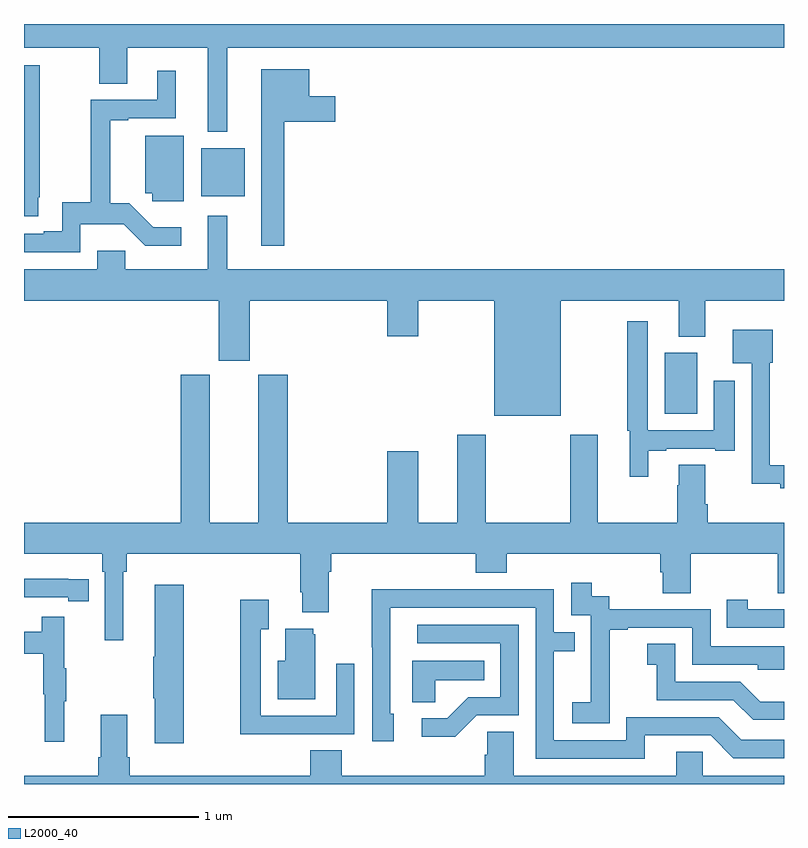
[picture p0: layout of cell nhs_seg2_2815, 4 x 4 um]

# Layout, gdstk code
import gdstk
lib = gdstk.Library(unit=1e-6, precision=1e-09)
def R(c, l, rs):  # rectangles x0, y0, x1, y1
    for r in rs: c.add(gdstk.rectangle(r[:2], r[2:], *l))
def P(c, l, *ps):  # polygons
    for p in ps: c.add(gdstk.Polygon(p, *l))
L2000_40 = (2000, 40)

nhs_seg2_2815 = lib.new_cell('nhs_seg2_2815')
R(nhs_seg2_2815, L2000_40, [(262.373,605.75,262.543,606.07), (259.934,606.893,260.161,607.147)])
P(nhs_seg2_2815, L2000_40, [(260.071,607.676),(263,607.676),(263,607.8),(259,607.8),(259,607.676),(259.396,607.676),(259.396,607.486),(259.543,607.486),(259.543,607.676),(259.967,607.676),(259.967,607.232),(260.071,607.232)],
  [(259.076,606.889),(259.082,606.889),(259.082,607.584),(259,607.584),(259,606.787),(259.076,606.787)],
  [(260.371,607.286),(260.638,607.286),(260.638,607.42),(260.5,607.42),(260.5,607.561),(260.249,607.561),(260.249,606.633),(260.371,606.633)],
  [(259.296,606.746),(259.525,606.746),(259.638,606.633),(259.828,606.633),(259.828,606.73),(259.679,606.73),(259.553,606.856),(259.454,606.856),(259.454,607.293),(259.549,607.293),(259.549,607.305),(259.798,607.305),(259.798,607.555),(259.7,607.555),(259.7,607.401),(259.351,607.401),(259.351,606.863),(259.2,606.863),(259.2,606.71),(259.103,606.71),(259.103,606.696),(259,606.696),(259,606.6),(259.296,606.6)],
  [(259.84,607.213),(259.637,607.213),(259.637,606.908),(259.674,606.908),(259.674,606.866),(259.84,606.866)],
  [(261.826,606.344),(262.445,606.344),(262.445,606.155),(262.585,606.155),(262.585,606.344),(263,606.344),(263,606.508),(260.071,606.508),(260.071,606.79),(259.967,606.79),(259.967,606.508),(259.532,606.508),(259.532,606.606),(259.385,606.606),(259.385,606.508),(259,606.508),(259,606.344),(260.024,606.344),(260.024,606.027),(260.188,606.027),(260.188,606.344),(260.912,606.344),(260.912,606.156),(261.076,606.156),(261.076,606.344),(261.476,606.344),(261.476,605.738),(261.826,605.738)],
  [(262.285,605.553),(262.381,605.553),(262.381,605.565),(262.637,605.565),(262.637,605.553),(262.741,605.553),(262.741,605.923),(262.631,605.923),(262.631,605.661),(262.284,605.661),(262.284,606.235),(262.176,606.235),(262.176,605.658),(262.187,605.658),(262.187,605.418),(262.285,605.418)],
  [(263,605.478),(262.926,605.478),(262.926,606.018),(262.942,606.018),(262.942,606.19),(262.73,606.19),(262.73,606.014),(262.83,606.014),(262.83,605.381),(262.98,605.381),(262.98,605.357),(263,605.357)],
  [(260.387,605.955),(260.234,605.955),(260.234,605.176),(259.978,605.176),(259.978,605.955),(259.826,605.955),(259.826,605.176),(259,605.176),(259,605.012),(259.412,605.012),(259.412,604.916),(259.425,604.916),(259.425,604.557),(259.522,604.557),(259.522,604.916),(259.541,604.916),(259.541,605.012),(260.453,605.012),(260.453,604.81),(260.465,604.81),(260.465,604.703),(260.605,604.703),(260.605,604.916),(260.618,604.916),(260.618,605.012),(261.377,605.012),(261.377,604.913),(261.541,604.913),(261.541,605.012),(262.349,605.012),(262.349,604.914),(262.361,604.914),(262.361,604.804),(262.509,604.804),(262.509,605.012),(262.966,605.012),(262.966,604.804),(263,604.804),(263,605.176),(262.598,605.176),(262.598,605.272),(262.585,605.272),(262.585,605.48),(262.445,605.48),(262.445,605.372),(262.438,605.372),(262.438,605.176),(262.021,605.176),(262.021,605.638),(261.874,605.638),(261.874,605.176),(261.429,605.176),(261.429,605.638),(261.281,605.638),(261.281,605.176),(261.076,605.176),(261.076,605.551),(260.912,605.551),(260.912,605.176),(260.387,605.176)],
  [(259.34,604.878),(259.232,604.878),(259.232,604.879),(259,604.879),(259,604.782),(259.232,604.782),(259.232,604.762),(259.34,604.762)],
  [(262.083,604.327),(262.082,604.327),(262.082,604.611),(262.177,604.611),(262.177,604.623),(262.518,604.623),(262.518,604.428),(262.863,604.428),(262.863,604.401),(263,604.401),(263,604.524),(262.614,604.524),(262.614,604.719),(262.08,604.719),(262.08,604.788),(261.988,604.788),(261.988,604.858),(261.879,604.858),(261.879,604.689),(261.984,604.689),(261.984,604.46),(261.983,604.46),(261.983,604.231),(261.885,604.231),(261.885,604.121),(262.083,604.121)],
  [(259.842,604.849),(259.688,604.849),(259.688,604.469),(259.681,604.469),(259.681,604.252),(259.688,604.252),(259.688,604.014),(259.842,604.014)],
  [(262.267,604.056),(262.614,604.056),(262.734,603.936),(263,603.936),(263,604.032),(262.776,604.032),(262.656,604.152),(262.17,604.152),(262.17,604.029),(261.789,604.029),(261.789,604.498),(261.899,604.498),(261.899,604.599),(261.789,604.599),(261.789,604.824),(261.293,604.824),(261.293,604.826),(260.83,604.826),(260.83,604.519),(260.832,604.519),(260.832,604.026),(260.947,604.026),(260.947,604.17),(260.928,604.17),(260.928,604.728),(261.693,604.728),(261.693,603.933),(262.267,603.933)],
  [(263,604.719),(262.81,604.719),(262.81,604.771),(262.699,604.771),(262.699,604.623),(263,604.623)],
  [(260.423,604.062),(260.739,604.062),(260.739,604.432),(260.643,604.432),(260.643,604.158),(260.247,604.158),(260.247,604.615),(260.287,604.615),(260.287,604.771),(260.139,604.771),(260.139,604.061),(260.423,604.061)],
  [(259.211,604.235),(259.222,604.235),(259.222,604.409),(259.211,604.409),(259.211,604.681),(259.093,604.681),(259.093,604.602),(259,604.602),(259,604.486),(259.101,604.486),(259.101,604.272),(259.108,604.272),(259.108,604.023),(259.211,604.023)],
  [(261.384,604.161),(261.603,604.161),(261.603,604.638),(261.069,604.638),(261.069,604.542),(261.507,604.542),(261.507,604.257),(261.338,604.257),(261.227,604.146),(261.093,604.146),(261.093,604.049),(261.271,604.049)],
  [(260.533,604.587),(260.522,604.587),(260.522,604.618),(260.375,604.618),(260.375,604.45),(260.336,604.45),(260.336,604.247),(260.533,604.247)],
  [(263,604.234),(262.874,604.234),(262.77,604.338),(262.428,604.338),(262.428,604.537),(262.281,604.537),(262.281,604.427),(262.33,604.427),(262.33,604.242),(262.733,604.242),(262.838,604.137),(263,604.137)],
  [(261.165,604.346),(261.422,604.346),(261.422,604.45),(261.044,604.45),(261.044,604.231),(261.165,604.231)],
  [(263,603.844),(262.572,603.844),(262.572,603.971),(262.433,603.971),(262.433,603.844),(261.577,603.844),(261.577,604.076),(261.438,604.076),(261.438,603.953),(261.425,603.953),(261.425,603.844),(260.672,603.844),(260.672,603.977),(260.507,603.977),(260.507,603.844),(259.556,603.844),(259.556,603.94),(259.543,603.94),(259.543,604.165),(259.403,604.165),(259.403,603.94),(259.391,603.94),(259.391,603.844),(259,603.844),(259,603.8),(263,603.8)])

lib.write_gds('nhs_seg2_2815.gds')
